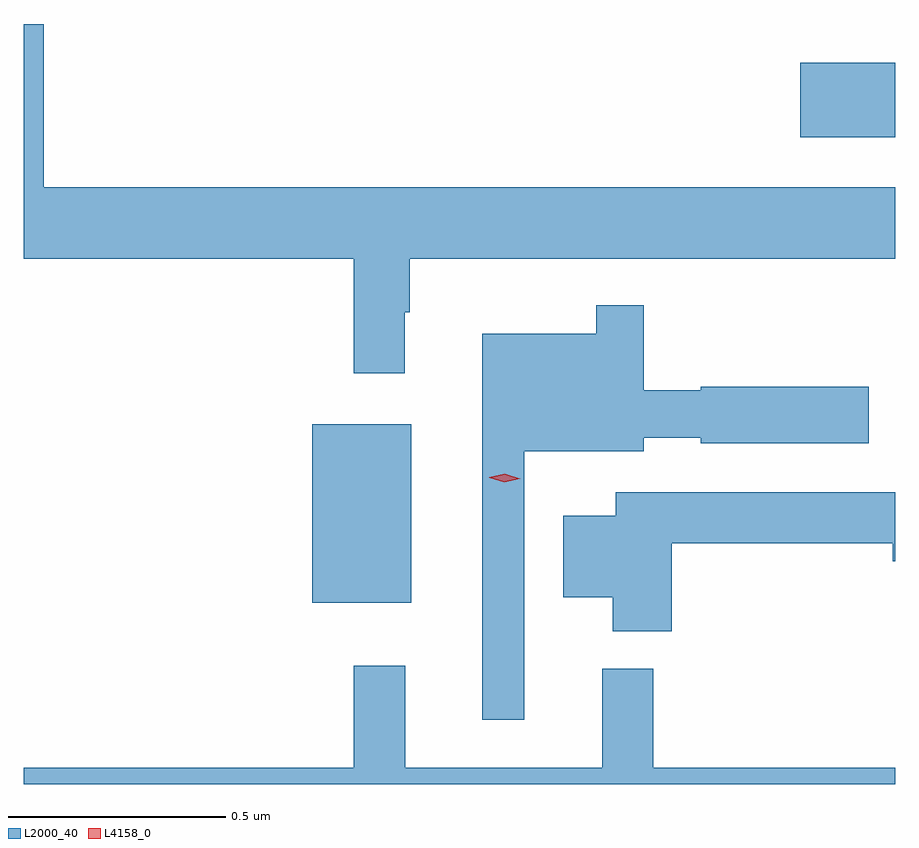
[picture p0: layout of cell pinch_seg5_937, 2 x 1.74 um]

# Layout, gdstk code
import gdstk
lib = gdstk.Library(unit=1e-6, precision=1e-09)
def R(c, l, rs):  # rectangles x0, y0, x1, y1
    for r in rs: c.add(gdstk.rectangle(r[:2], r[2:], *l))
def P(c, l, *ps):  # polygons
    for p in ps: c.add(gdstk.Polygon(p, *l))
L2000_40 = (2000, 40)
L4158_0 = (4158, 0)

pinch_seg5_937 = lib.new_cell('pinch_seg5_937')
R(pinch_seg5_937, L2000_40, [(717.236,883.943,717.463,884.353), (718.356,885.011,718.574,885.182)])
P(pinch_seg5_937, L2000_40, [(717.448,884.609),(717.46,884.609),(717.46,884.732),(718.574,884.732),(718.574,884.896),(716.62,884.896),(716.62,885.271),(716.574,885.271),(716.574,884.732),(717.331,884.732),(717.331,884.469),(717.448,884.469)],
  [(717.723,884.291),(717.997,884.291),(717.997,884.322),(718.128,884.322),(718.128,884.309),(718.513,884.309),(718.513,884.439),(718.128,884.439),(718.128,884.431),(717.997,884.431),(717.997,884.626),(717.888,884.626),(717.888,884.56),(717.626,884.56),(717.626,883.674),(717.723,883.674)],
  [(718.061,884.08),(718.568,884.08),(718.568,884.038),(718.574,884.038),(718.574,884.196),(717.932,884.196),(717.932,884.143),(717.812,884.143),(717.812,883.955),(717.926,883.955),(717.926,883.877),(718.061,883.877)],
  [(718.574,883.564),(718.019,883.564),(718.019,883.792),(717.902,883.792),(717.902,883.564),(717.449,883.564),(717.449,883.798),(717.331,883.798),(717.331,883.564),(716.574,883.564),(716.574,883.527),(718.574,883.527)])
P(pinch_seg5_937, L4158_0, [(717.677,884.219),(717.642,884.23),(717.642,884.231),(717.642,884.231),(717.678,884.239),(717.713,884.228),(717.713,884.227),(717.713,884.227)])

lib.write_gds('pinch_seg5_937.gds')
